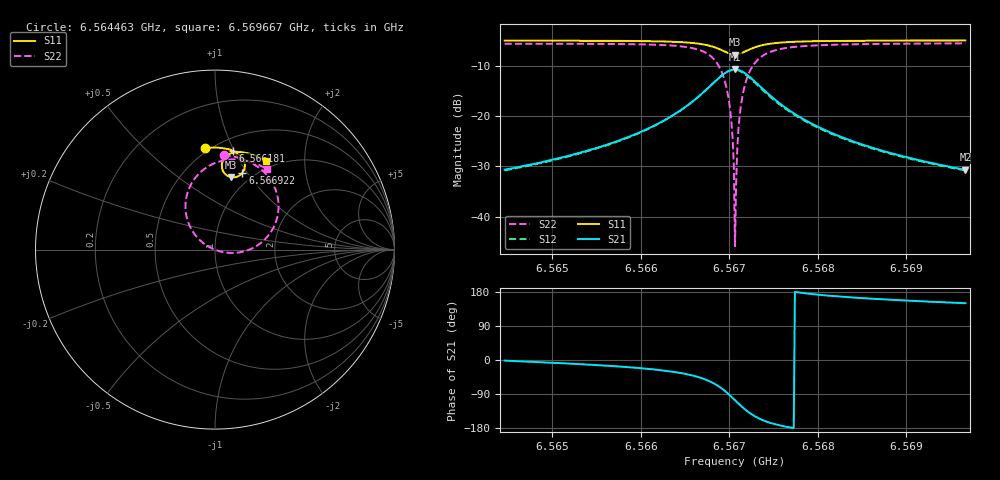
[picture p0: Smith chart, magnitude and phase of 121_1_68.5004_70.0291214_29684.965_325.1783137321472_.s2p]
#  HZ  S  RI  R  50.00
! Rohde & Schwarz Vector Network Analyzer
! Rohde-Schwarz,ZNB20-2Port,1311601062101988,3.16
! Created: UTC 3/20/2024, 4:53:58 PM
! freq[Hz]  re:S11  im:S11  re:S21  im:S21  re:S12  im:S12  re:S22  im:S22
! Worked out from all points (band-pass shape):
!   401 points, 6.564463 GHz to 6.569667 GHz, reference 50 ohm
!   highest |S21| = -10.65 dB at 6.567065 GHz (marker M1); lowest = -30.6 dB at 6.569667 GHz (marker M2)
!   |S21| within 3 dB of the highest: 6.566805 GHz to 6.567325 GHz (520.4 kHz wide, 0.00792 % of centre)
!   lowest |S11| = -7.7 dB at 6.567065 GHz (marker M3), VSWR 2.41, Z = 41.6 + j40.6 ohm
!   |S11| at or under -10 dB: nowhere
!   |S22| runs from -45.9 to -5.4 dB; largest |S21 - S12| = 0.014
!   S11 on the Smith chart (normalised r, x): 6.564463 GHz: 0.47, +0.79; 6.566181 GHz: 0.61, +0.99; 6.566922 GHz: 0.88, +0.95; 6.569667 GHz: 0.90, +1.31
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6.5644632e9  -0.0541 0.5668  0.0294 -0.000738  0.0289 -0.00134  0.0479 0.5265
6.5653349e9  0.018 0.5678  0.0431 -0.00861  0.0423 -0.00909  0.1327 0.5113
6.5661806e9  0.0988 0.5516  0.0748 -0.036  0.0738 -0.0368  0.2491 0.4535
6.5662066e9  0.1018 0.5505  0.0765 -0.038  0.0754 -0.0387  0.2538 0.4496
6.5667141e9  0.1617 0.4949  0.1126 -0.1339  0.1099 -0.137  0.3533 0.2622
6.5668311e9  0.1662 0.4609  0.1013 -0.1936  0.0961 -0.1974  0.3371 0.1486
6.5669222e9  0.1531 0.4279  0.0612 -0.25  0.0522 -0.2533  0.2632 0.0434
6.5670003e9  0.1226 0.4058  -0.00806 -0.2847  -0.0205 -0.2838  0.1352 -0.0157
6.5670263e9  0.1089 0.4029  -0.037 -0.288  -0.0499 -0.2848  0.0829 -0.0187
6.5670393e9  0.1018 0.4025  -0.0518 -0.2873  -0.065 -0.2832  0.0563 -0.0161
6.5670523e9  0.0946 0.4028  -0.0667 -0.2854  -0.0796 -0.2799  0.03 -0.0107
6.5670653e9  0.0876 0.404  -0.0815 -0.2818  -0.094 -0.2753  0.00424 -0.00277
6.5670914e9  0.074 0.4088  -0.1094 -0.2706  -0.1209 -0.2619  -0.0436 0.021
6.5671044e9  0.0677 0.4122  -0.1223 -0.263  -0.133 -0.2535  -0.065 0.0361
6.5671174e9  0.0621 0.4163  -0.1343 -0.2545  -0.144 -0.2441  -0.0847 0.053
6.5671434e9  0.0524 0.4259  -0.1545 -0.2345  -0.1625 -0.2231  -0.1174 0.0907
6.5671954e9  0.0406 0.4481  -0.1809 -0.19  -0.1848 -0.1777  -0.1558 0.1728
6.5672605e9  0.0382 0.4755  -0.1908 -0.1366  -0.1908 -0.1257  -0.1635 0.2667
6.5675077e9  0.0765 0.5305  -0.146 -0.0287  -0.1428 -0.0242  -0.0604 0.4484
6.567937e9  0.1394 0.5435  -0.0835 0.00882  -0.0814 0.0101  0.0794 0.5013
6.5688088e9  0.2225 0.5241  -0.0405 0.0154  -0.0396 0.0157  0.2106 0.4848
6.5696674e9  0.2868 0.4939  -0.0255 0.0146  -0.0247 0.0148  0.2883 0.4499
